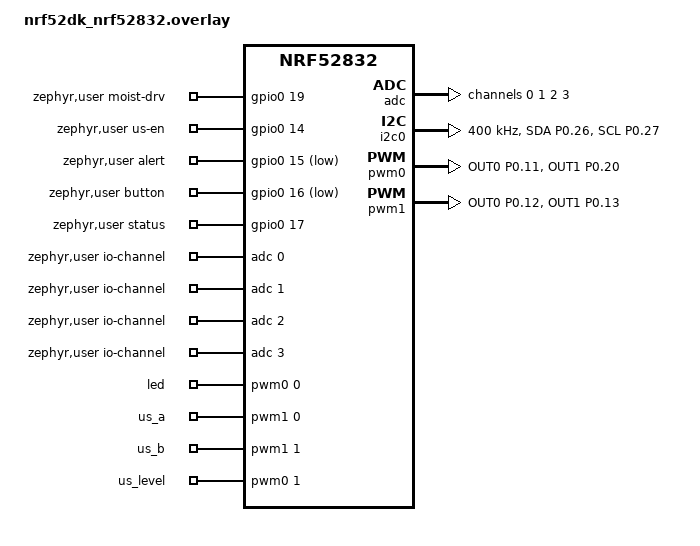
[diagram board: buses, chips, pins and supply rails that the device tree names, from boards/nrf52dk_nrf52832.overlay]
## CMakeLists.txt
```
# PulsePatch firmware for the nRF52832 using the nRF Connect SDK (Zephyr).
# NOT BUILT YET. See ../../README.md.
cmake_minimum_required(VERSION 3.20.0)
find_package(Zephyr REQUIRED HINTS $ENV{ZEPHYR_BASE})
project(pulsepatch)

set(CORE ${CMAKE_CURRENT_SOURCE_DIR}/../../core)
target_include_directories(app PRIVATE ${CORE})
target_sources(app PRIVATE
  src/main.c
  ${CORE}/tmp117.c ${CORE}/impedance.c ${CORE}/ph.c ${CORE}/therapy.c ${CORE}/telemetry.c ${CORE}/app.c)
```

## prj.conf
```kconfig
CONFIG_I2C=y
CONFIG_ADC=y
CONFIG_PWM=y
CONFIG_GPIO=y

# Bluetooth: one phone or gateway connects and exchanges text lines over the Nordic UART Service.
CONFIG_BT=y
CONFIG_BT_PERIPHERAL=y
CONFIG_BT_DEVICE_NAME="PulsePatch"
CONFIG_BT_NUS=y

# The board has no 32 kHz crystal; use the internal RC oscillator.
CONFIG_CLOCK_CONTROL_NRF_K32SRC_RC=y
```

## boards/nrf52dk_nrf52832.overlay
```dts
/* Pin mapping for the PulsePatch board, applied on top of the nRF52 DK definition.
 * NOT BUILT YET. Pins match hardware/kicad/gen/design.py.
 * The DK's own LED and button nodes use P0.13..P0.20, which this board uses for other things;
 * a custom board definition should replace this overlay before real use.
 */
#include <zephyr/dt-bindings/adc/nrf-adc.h>
#include <zephyr/dt-bindings/pwm/pwm.h>

/ {
	zephyr,user {
		io-channels = <&adc 0>, <&adc 1>, <&adc 2>, <&adc 3>;
		pwms = <&pwm0 0 PWM_USEC(1000) PWM_POLARITY_NORMAL>,
		       <&pwm1 0 PWM_NSEC(33333) PWM_POLARITY_NORMAL>,
		       <&pwm1 1 PWM_NSEC(33333) PWM_POLARITY_INVERTED>,
		       <&pwm0 1 PWM_USEC(1000) PWM_POLARITY_NORMAL>;
		pwm-names = "led", "us_a", "us_b", "us_level";
		moist-drv-gpios = <&gpio0 19 GPIO_ACTIVE_HIGH>;
		us-en-gpios = <&gpio0 14 GPIO_ACTIVE_HIGH>;
		alert-gpios = <&gpio0 15 GPIO_ACTIVE_LOW>;
		button-gpios = <&gpio0 16 (GPIO_ACTIVE_LOW | GPIO_PULL_UP)>;
		status-gpios = <&gpio0 17 GPIO_ACTIVE_HIGH>;
	};
};

&adc {
	#address-cells = <1>;
	#size-cells = <0>;
	status = "okay";

	channel@0 {	/* pH: buffer output (AIN0) minus reference electrode (AIN3) */
		reg = <0>;
		zephyr,gain = "ADC_GAIN_1_2";
		zephyr,reference = "ADC_REF_INTERNAL";
		zephyr,acquisition-time = <ADC_ACQ_TIME(ADC_ACQ_TIME_MICROSECONDS, 40)>;
		zephyr,input-positive = <NRF_SAADC_AIN0>;
		zephyr,input-negative = <NRF_SAADC_AIN3>;
		zephyr,resolution = <12>;
		zephyr,oversampling = <4>;
	};
	channel@1 {	/* battery through the 1M/1M divider (AIN1) */
		reg = <1>;
		zephyr,gain = "ADC_GAIN_1_6";
		zephyr,reference = "ADC_REF_INTERNAL";
		zephyr,acquisition-time = <ADC_ACQ_TIME(ADC_ACQ_TIME_MICROSECONDS, 40)>;
		zephyr,input-positive = <NRF_SAADC_AIN1>;
		zephyr,resolution = <12>;
	};
	channel@2 {	/* pad ID divider (AIN2) */
		reg = <2>;
		zephyr,gain = "ADC_GAIN_1_6";
		zephyr,reference = "ADC_REF_INTERNAL";
		zephyr,acquisition-time = <ADC_ACQ_TIME(ADC_ACQ_TIME_MICROSECONDS, 40)>;
		zephyr,input-positive = <NRF_SAADC_AIN2>;
		zephyr,resolution = <12>;
	};
	channel@3 {	/* moisture divider midpoint (AIN4) */
		reg = <3>;
		zephyr,gain = "ADC_GAIN_1_6";
		zephyr,reference = "ADC_REF_INTERNAL";
		zephyr,acquisition-time = <ADC_ACQ_TIME(ADC_ACQ_TIME_MICROSECONDS, 40)>;
		zephyr,input-positive = <NRF_SAADC_AIN4>;
		zephyr,resolution = <12>;
	};
};

&i2c0 {
	status = "okay";
	clock-frequency = <I2C_BITRATE_FAST>;
	pinctrl-0 = <&i2c0_pulsepatch>;
	pinctrl-names = "default";
};

&pwm0 {
	status = "okay";
	pinctrl-0 = <&pwm0_pulsepatch>;
	pinctrl-names = "default";
};

&pwm1 {
	status = "okay";
	pinctrl-0 = <&pwm1_pulsepatch>;
	pinctrl-names = "default";
};

&pinctrl {
	i2c0_pulsepatch: i2c0_pulsepatch {
		group1 {
			psels = <NRF_PSEL(TWIM_SDA, 0, 26)>, <NRF_PSEL(TWIM_SCL, 0, 27)>;
		};
	};
	pwm0_pulsepatch: pwm0_pulsepatch {
		group1 {
			psels = <NRF_PSEL(PWM_OUT0, 0, 11)>,	/* LED dimming */
				<NRF_PSEL(PWM_OUT1, 0, 20)>;	/* ultrasound strength */
		};
	};
	pwm1_pulsepatch: pwm1_pulsepatch {
		group1 {
			psels = <NRF_PSEL(PWM_OUT0, 0, 12)>, <NRF_PSEL(PWM_OUT1, 0, 13)>;	/* H-bridge IN1, IN2 */
		};
	};
};
```

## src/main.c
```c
/* PulsePatch on the nRF52832 with the nRF Connect SDK (Zephyr).
 *
 * NOT BUILT OR RUN YET. This file implements pp_hal.h with Zephyr drivers and runs the same core
 * that the host tests exercise. It was written from the documented APIs without the SDK installed,
 * so expect to fix small things on the first build.
 */
#include <string.h>

#include <zephyr/bluetooth/bluetooth.h>
#include <zephyr/device.h>
#include <zephyr/drivers/adc.h>
#include <zephyr/drivers/gpio.h>
#include <zephyr/drivers/i2c.h>
#include <zephyr/drivers/pwm.h>
#include <zephyr/kernel.h>
#include <zephyr/sys/printk.h>
#include <zephyr/sys/util.h>

#include <bluetooth/services/nus.h>

#include "app.h"
#include "pp_hal.h"

#define USER DT_PATH(zephyr_user)
#define US_PERIOD_NS 33333u                  /* 30 kHz: tune to the disc's loaded resonance */
#define LED_PERIOD_US 1000u
#define LEVEL_PERIOD_US 1000u
#define MOISTURE_CYCLES 16

static const struct device *const i2c = DEVICE_DT_GET(DT_NODELABEL(i2c0));
static const struct adc_dt_spec adc[] = {
	ADC_DT_SPEC_GET_BY_IDX(USER, 0), ADC_DT_SPEC_GET_BY_IDX(USER, 1), ADC_DT_SPEC_GET_BY_IDX(USER, 2),
	ADC_DT_SPEC_GET_BY_IDX(USER, 3),          /* moisture divider midpoint; not a pp_adc_channel_t */
};
#define ADC_MOISTURE 3
static const struct pwm_dt_spec led_pwm = PWM_DT_SPEC_GET_BY_NAME(USER, led);
static const struct pwm_dt_spec us_a = PWM_DT_SPEC_GET_BY_NAME(USER, us_a);
static const struct pwm_dt_spec us_b = PWM_DT_SPEC_GET_BY_NAME(USER, us_b);
static const struct pwm_dt_spec us_level = PWM_DT_SPEC_GET_BY_NAME(USER, us_level);
static const struct gpio_dt_spec moist_drv = GPIO_DT_SPEC_GET(USER, moist_drv_gpios);
static const struct gpio_dt_spec us_en = GPIO_DT_SPEC_GET(USER, us_en_gpios);
static const struct gpio_dt_spec alert = GPIO_DT_SPEC_GET(USER, alert_gpios);
static const struct gpio_dt_spec button = GPIO_DT_SPEC_GET(USER, button_gpios);
static const struct gpio_dt_spec status = GPIO_DT_SPEC_GET(USER, status_gpios);

K_MSGQ_DEFINE(command_queue, 64, 4, 1);      /* text lines received over Bluetooth */
static app_t app;

/* ---- pp_hal.h ---- */

int hal_i2c_write(uint8_t addr, const uint8_t *data, size_t len)
{
	return i2c_write(i2c, data, len, addr);
}

int hal_i2c_write_read(uint8_t addr, const uint8_t *wr, size_t wr_len, uint8_t *rd, size_t rd_len)
{
	return i2c_write_read(i2c, addr, wr, wr_len, rd, rd_len);
}

static int adc_read_uv(int channel, int32_t *microvolts)
{
	int16_t raw = 0;
	int32_t mv;
	struct adc_sequence seq = { .buffer = &raw, .buffer_size = sizeof(raw) };
	int err = adc_sequence_init_dt(&adc[channel], &seq);

	if (err == 0) {
		err = adc_read(adc[channel].dev, &seq);
	}
	if (err == 0) {
		mv = raw;
		err = adc_raw_to_millivolts_dt(&adc[channel], &mv);
		*microvolts = mv * 1000;
	}
	return err;
}

int hal_adc_read_uv(pp_adc_channel_t channel, int32_t *microvolts)
{
	return adc_read_uv((int)channel, microvolts);
}

int hal_moisture_measure_uv(int32_t *swing_uv)
{
	/* Toggle the drive pin at about 1 kHz and sample the divider midpoint in each half cycle. */
	int64_t sum = 0;
	int32_t high, low;

	for (int i = 0; i < MOISTURE_CYCLES; i++) {
		gpio_pin_set_dt(&moist_drv, 1);
		k_busy_wait(250);
		if (adc_read_uv(ADC_MOISTURE, &high) != 0) {
			gpio_pin_set_dt(&moist_drv, 0);
			return -1;
		}
		k_busy_wait(150);
		gpio_pin_set_dt(&moist_drv, 0);
		k_busy_wait(250);
		if (adc_read_uv(ADC_MOISTURE, &low) != 0) {
			return -1;
		}
		k_busy_wait(150);
		sum += high - low;
	}
	*swing_uv = (int32_t)(sum / MOISTURE_CYCLES);
	return 0;
}

void hal_led_set_permille(uint16_t duty)
{
	pwm_set_dt(&led_pwm, PWM_USEC(LED_PERIOD_US), PWM_USEC((uint32_t)duty * LED_PERIOD_US / 1000u));
}

void hal_ultrasound_set(uint16_t amplitude)
{
	/* Strength: the boost output is about 9.95 V minus 1.515 x the control voltage, so amplitude 1000
	 * (10 V) needs 0 V of control and amplitude 500 (5 V) needs about 3.3 V.
	 * Drive: two complementary 50% square waves on the H-bridge inputs; the enable line powers the boost. */
	uint32_t target_mv = (uint32_t)amplitude * 10u;
	uint32_t control_mv = target_mv >= 9950u ? 0u : (9950u - target_mv) * 1000u / 1515u;
	uint32_t pulse = amplitude ? US_PERIOD_NS / 2 : 0;

	if (control_mv > 3300u) {
		control_mv = 3300u;
	}
	pwm_set_dt(&us_level, PWM_USEC(LEVEL_PERIOD_US), PWM_USEC(control_mv * LEVEL_PERIOD_US / 3300u));
	pwm_set_dt(&us_a, US_PERIOD_NS, pulse);
	pwm_set_dt(&us_b, US_PERIOD_NS, pulse);
	gpio_pin_set_dt(&us_en, amplitude > 0);
}

bool hal_temp_alert_active(void)
{
	return gpio_pin_get_dt(&alert) > 0;
}

void hal_status_led(bool on)
{
	gpio_pin_set_dt(&status, on);
}

void hal_delay_ms(uint32_t ms)
{
	k_msleep(ms);
}

void hal_link_write(const char *line)
{
	printk("%s", line);
	(void)bt_nus_send(NULL, (const uint8_t *)line, strlen(line));
}

/* ---- Bluetooth ---- */

static void nus_received(struct bt_conn *conn, const uint8_t *const data, uint16_t len)
{
	char line[64] = { 0 };

	ARG_UNUSED(conn);
	memcpy(line, data, MIN(len, sizeof(line) - 1));
	(void)k_msgq_put(&command_queue, line, K_NO_WAIT);
}

static struct bt_nus_cb nus_callbacks = { .received = nus_received };

static const struct bt_data adv[] = {
	BT_DATA_BYTES(BT_DATA_FLAGS, (BT_LE_AD_GENERAL | BT_LE_AD_NO_BREDR)),
	BT_DATA(BT_DATA_NAME_COMPLETE, CONFIG_BT_DEVICE_NAME, sizeof(CONFIG_BT_DEVICE_NAME) - 1),
};
static const struct bt_data scan_response[] = {
	BT_DATA_BYTES(BT_DATA_UUID128_ALL, BT_UUID_NUS_VAL),
};

int main(void)
{
	char line[64];
	bool was_pressed = false;

	if (!device_is_ready(i2c)) {
		printk("i2c not ready\n");
		return 0;
	}
	gpio_pin_configure_dt(&us_en, GPIO_OUTPUT_INACTIVE);
	gpio_pin_configure_dt(&status, GPIO_OUTPUT_INACTIVE);
	gpio_pin_configure_dt(&moist_drv, GPIO_OUTPUT_INACTIVE);
	gpio_pin_configure_dt(&alert, GPIO_INPUT);
	gpio_pin_configure_dt(&button, GPIO_INPUT);
	for (size_t i = 0; i < ARRAY_SIZE(adc); i++) {
		adc_channel_setup_dt(&adc[i]);
	}
	if (bt_enable(NULL) == 0 && bt_nus_init(&nus_callbacks) == 0) {
		bt_le_adv_start(BT_LE_ADV_CONN, adv, ARRAY_SIZE(adv), scan_response, ARRAY_SIZE(scan_response));
	}

	app_init(&app, k_uptime_get_32());
	for (;;) {
		bool pressed = gpio_pin_get_dt(&button) > 0;

		while (k_msgq_get(&command_queue, line, K_NO_WAIT) == 0) {
			app_command(&app, k_uptime_get_32(), line);
		}
		if (pressed && !was_pressed) {
			hal_link_write("B,1,0,0\n");     /* the wearer pressed the pain / odour button */
		}
		was_pressed = pressed;
		app_tick(&app, k_uptime_get_32());
		k_msleep(250);
	}
	return 0;
}
```
